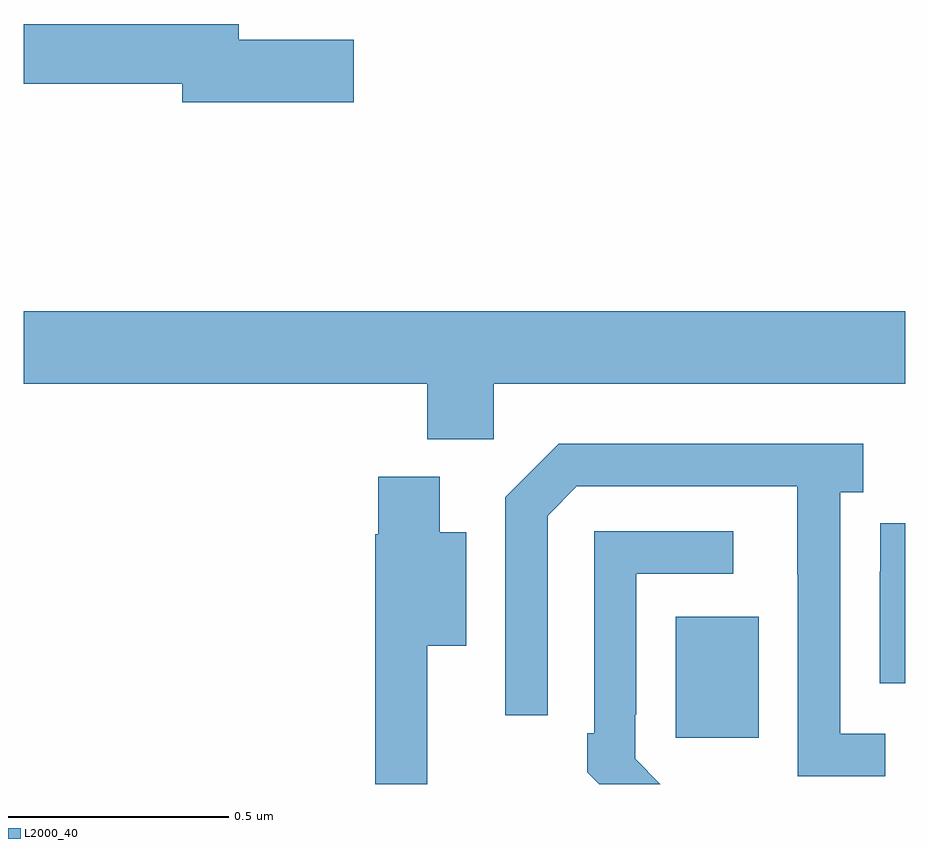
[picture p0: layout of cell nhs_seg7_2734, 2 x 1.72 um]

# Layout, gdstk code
import gdstk
lib = gdstk.Library(unit=1e-6, precision=1e-09)
def R(c, l, rs):  # rectangles x0, y0, x1, y1
    for r in rs: c.add(gdstk.rectangle(r[:2], r[2:], *l))
def P(c, l, *ps):  # polygons
    for p in ps: c.add(gdstk.Polygon(p, *l))
L2000_40 = (2000, 40)

nhs_seg7_2734 = lib.new_cell('nhs_seg7_2734')
R(nhs_seg7_2734, L2000_40, [(150.479,1041.105,150.667,1041.379)])
P(nhs_seg7_2734, L2000_40, [(149.749,1042.688),(149.488,1042.688),(149.488,1042.724),(149,1042.724),(149,1042.588),(149.36,1042.588),(149.36,1042.546),(149.749,1042.546)],
  [(150.066,1041.908),(151,1041.908),(151,1042.072),(149,1042.072),(149,1041.908),(149.915,1041.908),(149.915,1041.782),(150.066,1041.782)],
  [(150.955,1041.114),(150.852,1041.114),(150.852,1041.662),(150.904,1041.662),(150.904,1041.772),(150.214,1041.772),(150.093,1041.651),(150.093,1041.156),(150.189,1041.156),(150.189,1041.609),(150.255,1041.675),(150.755,1041.675),(150.755,1041.475),(150.756,1041.475),(150.756,1041.018),(150.955,1041.018)],
  [(149.915,1041.314),(150.004,1041.314),(150.004,1041.571),(149.944,1041.571),(149.944,1041.697),(149.804,1041.697),(149.804,1041.567),(149.797,1041.567),(149.797,1041),(149.915,1041)],
  [(151,1041.591),(150.943,1041.591),(150.943,1041.482),(150.942,1041.482),(150.942,1041.228),(151,1041.228)],
  [(150.387,1041.057),(150.387,1041.157),(150.39,1041.157),(150.39,1041.477),(150.61,1041.477),(150.61,1041.573),(150.294,1041.573),(150.294,1041.115),(150.279,1041.115),(150.279,1041.027),(150.306,1041),(150.444,1041)])

lib.write_gds('nhs_seg7_2734.gds')
